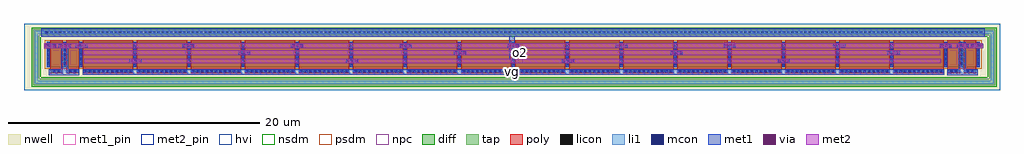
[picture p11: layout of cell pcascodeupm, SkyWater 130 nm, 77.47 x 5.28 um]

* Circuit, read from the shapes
.subckt pcascodeupm o1 o2 vdd vg
XM1 vdd vdd vdd vdd sky130_fd_pr__pfet_g5v0d10v5 w=2 l=1 m=4
XM2 o1 vg vdd vdd sky130_fd_pr__pfet_g5v0d10v5 w=2 l=4 m=8
XM3 o2 vg vdd vdd sky130_fd_pr__pfet_g5v0d10v5 w=2 l=4 m=8
.ends

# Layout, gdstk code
from math import pi, radians
import gdstk
lib = gdstk.Library(unit=1e-6, precision=1e-09)
def R(c, l, rs):  # rectangles x0, y0, x1, y1
    for r in rs: c.add(gdstk.rectangle(r[:2], r[2:], *l))
def A(c, l, x, y, w, h, nx, ny, dx, dy):  # array of equal rectangles
    R(c, l, [(x+i*dx, y+j*dy, x+i*dx+w, y+j*dy+h) for i in range(nx) for j in range(ny)])
nwell = (64, 20)
diff = (65, 20)
tap = (65, 44)
poly = (66, 20)
licon = (66, 44)
li1 = (67, 20)
mcon = (67, 44)
met1_pin = (68, 16)
met1 = (68, 20)
via = (68, 44)
met2_pin = (69, 16)
met2 = (69, 20)
hvi = (75, 20)
nsdm = (93, 44)
psdm = (94, 20)
npc = (95, 20)

sky130_fd_pr__pfet_g5v0d = lib.new_cell('sky130_fd_pr__pfet_g5v0d10v5_3TVYLM')
R(sky130_fd_pr__pfet_g5v0d, nwell, [(-1.615,-1.32,1.615,1.49)])
R(sky130_fd_pr__pfet_g5v0d, diff, [(-1.435,-0.82,1.435,1.18)])
R(sky130_fd_pr__pfet_g5v0d, poly, [(-1.145,-1.305,-0.145,1.31), (0.145,-1.305,1.145,1.31)])
A(sky130_fd_pr__pfet_g5v0d, licon, -1.375, -0.755, 0.17, 0.17, 3, 6, 1.29, 0.34)
R(sky130_fd_pr__pfet_g5v0d, licon, [(-0.9,-1.225,-0.73,-1.055), (-0.56,-1.225,-0.39,-1.055), (0.39,-1.225,0.56,-1.055), (0.73,-1.225,0.9,-1.055)])
A(sky130_fd_pr__pfet_g5v0d, li1, -1.375, -0.84, 0.17, 2.04, 3, 1, 1.29, 0)
R(sky130_fd_pr__pfet_g5v0d, li1, [(-1.145,-1.225,-0.145,-1.055), (0.145,-1.225,1.145,-1.055)])
A(sky130_fd_pr__pfet_g5v0d, mcon, -1.375, -0.625, 0.17, 0.17, 3, 5, 1.29, 0.36)
R(sky130_fd_pr__pfet_g5v0d, mcon, [(-0.91,-1.225,-0.74,-1.055), (-0.55,-1.225,-0.38,-1.055), (0.38,-1.225,0.55,-1.055), (0.74,-1.225,0.91,-1.055)])
A(sky130_fd_pr__pfet_g5v0d, met1, -1.405, -0.82, 0.23, 2, 3, 1, 1.29, 0)
R(sky130_fd_pr__pfet_g5v0d, met1, [(-1.125,-1.255,-0.165,-1.025), (0.165,-1.255,1.125,-1.025)])
R(sky130_fd_pr__pfet_g5v0d, hvi, [(-1.615,-1.32,1.615,-1.005), (-1.62,-1.005,1.62,1.365), (-1.615,1.365,1.615,1.49)])
R(sky130_fd_pr__pfet_g5v0d, psdm, [(-1.56,-0.945,1.56,1.305)])
R(sky130_fd_pr__pfet_g5v0d, npc, [(-1,-1.325,-0.29,-0.955), (0.29,-1.325,1,-0.955)])

viam1m2_1u = lib.new_cell('viam1m2_1u')
R(viam1m2_1u, met1, [(-0.02,-0.04,0.33,0.94)])
A(viam1m2_1u, via, 0.075, 0.06, 0.15, 0.15, 1, 3, 0, 0.32)
R(viam1m2_1u, met2, [(-0.02,-0.04,0.33,0.94)])

c_sky130_fd_pr__pfet_g5v0d = lib.new_cell('sky130_fd_pr__pfet_g5v0d10v5_252SW7')
R(c_sky130_fd_pr__pfet_g5v0d, nwell, [(-34.645,-1.32,34.645,1.49)])
R(c_sky130_fd_pr__pfet_g5v0d, diff, [(-34.465,-0.82,34.465,1.18)])
A(c_sky130_fd_pr__pfet_g5v0d, poly, -34.175, -1.305, 4, 2.615, 16, 1, 4.29, 0)
A(c_sky130_fd_pr__pfet_g5v0d, licon, -33.96, -1.225, 0.17, 0.17, 11, 1, 0.34, 0)
A(c_sky130_fd_pr__pfet_g5v0d, licon, -29.67, -1.225, 0.17, 0.17, 11, 1, 0.34, 0)
A(c_sky130_fd_pr__pfet_g5v0d, licon, -25.38, -1.225, 0.17, 0.17, 11, 1, 0.34, 0)
A(c_sky130_fd_pr__pfet_g5v0d, licon, -21.09, -1.225, 0.17, 0.17, 11, 1, 0.34, 0)
A(c_sky130_fd_pr__pfet_g5v0d, licon, -16.8, -1.225, 0.17, 0.17, 11, 1, 0.34, 0)
A(c_sky130_fd_pr__pfet_g5v0d, licon, -12.51, -1.225, 0.17, 0.17, 11, 1, 0.34, 0)
A(c_sky130_fd_pr__pfet_g5v0d, licon, -8.22, -1.225, 0.17, 0.17, 11, 1, 0.34, 0)
A(c_sky130_fd_pr__pfet_g5v0d, licon, -3.93, -1.225, 0.17, 0.17, 11, 1, 0.34, 0)
A(c_sky130_fd_pr__pfet_g5v0d, licon, 0.36, -1.225, 0.17, 0.17, 11, 1, 0.34, 0)
A(c_sky130_fd_pr__pfet_g5v0d, licon, 4.65, -1.225, 0.17, 0.17, 11, 1, 0.34, 0)
A(c_sky130_fd_pr__pfet_g5v0d, licon, 8.94, -1.225, 0.17, 0.17, 11, 1, 0.34, 0)
A(c_sky130_fd_pr__pfet_g5v0d, licon, 13.23, -1.225, 0.17, 0.17, 11, 1, 0.34, 0)
A(c_sky130_fd_pr__pfet_g5v0d, licon, 17.52, -1.225, 0.17, 0.17, 11, 1, 0.34, 0)
A(c_sky130_fd_pr__pfet_g5v0d, licon, 21.81, -1.225, 0.17, 0.17, 11, 1, 0.34, 0)
A(c_sky130_fd_pr__pfet_g5v0d, licon, 26.1, -1.225, 0.17, 0.17, 11, 1, 0.34, 0)
A(c_sky130_fd_pr__pfet_g5v0d, licon, 30.39, -1.225, 0.17, 0.17, 11, 1, 0.34, 0)
A(c_sky130_fd_pr__pfet_g5v0d, licon, -34.405, -0.755, 0.17, 0.17, 17, 6, 4.29, 0.34)
A(c_sky130_fd_pr__pfet_g5v0d, li1, -34.175, -1.225, 4, 0.17, 16, 1, 4.29, 0)
A(c_sky130_fd_pr__pfet_g5v0d, li1, -34.405, -0.84, 0.17, 2.04, 17, 1, 4.29, 0)
A(c_sky130_fd_pr__pfet_g5v0d, mcon, -34.06, -1.225, 0.17, 0.17, 11, 1, 0.36, 0)
A(c_sky130_fd_pr__pfet_g5v0d, mcon, -29.77, -1.225, 0.17, 0.17, 11, 1, 0.36, 0)
A(c_sky130_fd_pr__pfet_g5v0d, mcon, -25.48, -1.225, 0.17, 0.17, 11, 1, 0.36, 0)
A(c_sky130_fd_pr__pfet_g5v0d, mcon, -21.19, -1.225, 0.17, 0.17, 11, 1, 0.36, 0)
A(c_sky130_fd_pr__pfet_g5v0d, mcon, -16.9, -1.225, 0.17, 0.17, 11, 1, 0.36, 0)
A(c_sky130_fd_pr__pfet_g5v0d, mcon, -12.61, -1.225, 0.17, 0.17, 11, 1, 0.36, 0)
A(c_sky130_fd_pr__pfet_g5v0d, mcon, -8.32, -1.225, 0.17, 0.17, 11, 1, 0.36, 0)
A(c_sky130_fd_pr__pfet_g5v0d, mcon, -4.03, -1.225, 0.17, 0.17, 11, 1, 0.36, 0)
A(c_sky130_fd_pr__pfet_g5v0d, mcon, 0.26, -1.225, 0.17, 0.17, 11, 1, 0.36, 0)
A(c_sky130_fd_pr__pfet_g5v0d, mcon, 4.55, -1.225, 0.17, 0.17, 11, 1, 0.36, 0)
A(c_sky130_fd_pr__pfet_g5v0d, mcon, 8.84, -1.225, 0.17, 0.17, 11, 1, 0.36, 0)
A(c_sky130_fd_pr__pfet_g5v0d, mcon, 13.13, -1.225, 0.17, 0.17, 11, 1, 0.36, 0)
A(c_sky130_fd_pr__pfet_g5v0d, mcon, 17.42, -1.225, 0.17, 0.17, 11, 1, 0.36, 0)
A(c_sky130_fd_pr__pfet_g5v0d, mcon, 21.71, -1.225, 0.17, 0.17, 11, 1, 0.36, 0)
A(c_sky130_fd_pr__pfet_g5v0d, mcon, 26, -1.225, 0.17, 0.17, 11, 1, 0.36, 0)
A(c_sky130_fd_pr__pfet_g5v0d, mcon, 30.29, -1.225, 0.17, 0.17, 11, 1, 0.36, 0)
A(c_sky130_fd_pr__pfet_g5v0d, mcon, -34.405, -0.625, 0.17, 0.17, 17, 5, 4.29, 0.36)
A(c_sky130_fd_pr__pfet_g5v0d, met1, -34.155, -1.255, 3.96, 0.23, 16, 1, 4.29, 0)
A(c_sky130_fd_pr__pfet_g5v0d, met1, -34.435, -0.82, 0.23, 2, 17, 1, 4.29, 0)
R(c_sky130_fd_pr__pfet_g5v0d, hvi, [(-34.645,-1.32,34.645,-1.005), (-34.65,-1.005,34.65,1.365), (-34.645,1.365,34.645,1.49)])
R(c_sky130_fd_pr__pfet_g5v0d, psdm, [(-34.59,-0.945,34.59,1.305)])
A(c_sky130_fd_pr__pfet_g5v0d, npc, -34.06, -1.325, 3.77, 0.37, 16, 1, 4.29, 0)

pcascodeupm = lib.new_cell('pcascodeupm')
R(pcascodeupm, nwell, [(-4.19,-1.34,73.28,3.94)])
R(pcascodeupm, tap, [(-3.465,-0.925,72.915,-0.435), (-3.465,-0.435,-2.975,3.015), (72.425,-0.435,72.915,3.02), (-3.465,3.015,-1.775,3.02), (-3.465,3.02,72.915,3.505), (-2.5,3.505,72.915,3.51)])
A(pcascodeupm, licon, -2.435, 3.155, 0.17, 0.17, 219, 1, 0.34, 0)
R(pcascodeupm, li1, [(-3.34,-0.84,34.38,-0.83), (-3.34,-0.83,72.77,-0.6), (-3.34,-0.6,-3.1,3.13), (33.9,-0.6,72.77,-0.59), (72.53,-0.59,72.77,3.13), (-3.34,3.13,72.77,3.37)])
R(pcascodeupm, mcon, [(-2.505,3.165,-2.335,3.335)])
R(pcascodeupm, met1_pin, [(34.42,-0.06,34.8,0.28)])
R(pcascodeupm, met1, [(69.11,-0.15,71.5,0.31), (-2.21,-0.14,0.18,0.32), (0.47,-0.09,68.84,0.32), (70.01,0.31,70.55,2.47), (-1.22,0.32,-0.68,2.36), (34.34,1.095,34.75,2.89), (-2.84,2.89,72.06,3.57), (-2.83,3.57,-2.42,3.6)])
R(pcascodeupm, met2_pin, [(35.02,0.81,35.4,1.15), (35.05,1.46,35.43,1.8), (35.03,2.02,35.41,2.36)])
R(pcascodeupm, met2, [(0.59,0.8,68.595,1.17), (0.53,1.45,68.535,1.82), (-2.59,2,71.86,2.38)])
R(pcascodeupm, hvi, [(-4.19,-1.34,73.28,3.94)])
R(pcascodeupm, nsdm, [(-3.59,-1.05,73.04,-0.31), (-3.59,-0.31,-2.85,2.89), (72.3,-0.31,73.04,2.895), (-3.59,2.89,-1.65,2.895), (-3.59,2.895,73.04,3.63), (-2.625,3.63,73.04,3.635)])
pcascodeupm.add(gdstk.Reference(sky130_fd_pr__pfet_g5v0d, (-0.965,1.32)))
pcascodeupm.add(gdstk.Reference(viam1m2_1u, (-2.56,2.34), rotation=3*pi/2))
pcascodeupm.add(gdstk.Reference(viam1m2_1u, (-1.42,2.34), rotation=3*pi/2))
pcascodeupm.add(gdstk.Reference(viam1m2_1u, (-0.08,2.36), rotation=3*pi/2))
pcascodeupm.add(gdstk.Reference(viam1m2_1u, (4.22,1.13), rotation=3*pi/2))
pcascodeupm.add(gdstk.Reference(viam1m2_1u, (8.4,2.35), rotation=3*pi/2))
pcascodeupm.add(gdstk.Reference(viam1m2_1u, (12.84,1.81), rotation=3*pi/2))
pcascodeupm.add(gdstk.Reference(viam1m2_1u, (17.04,2.35), rotation=3*pi/2))
pcascodeupm.add(gdstk.Reference(viam1m2_1u, (21.41,1.13), rotation=3*pi/2))
pcascodeupm.add(gdstk.Reference(viam1m2_1u, (25.66,2.34), rotation=3*pi/2))
pcascodeupm.add(gdstk.Reference(viam1m2_1u, (29.98,1.78), rotation=3*pi/2))
pcascodeupm.add(gdstk.Reference(viam1m2_1u, (34.2,2.34), rotation=3*pi/2))
pcascodeupm.add(gdstk.Reference(viam1m2_1u, (38.55,1.16), rotation=3*pi/2))
pcascodeupm.add(gdstk.Reference(viam1m2_1u, (42.79,2.36), rotation=3*pi/2))
pcascodeupm.add(gdstk.Reference(viam1m2_1u, (47.15,1.79), rotation=3*pi/2))
pcascodeupm.add(gdstk.Reference(viam1m2_1u, (51.38,2.4), rotation=3*pi/2))
pcascodeupm.add(gdstk.Reference(viam1m2_1u, (55.67,1.16), rotation=3*pi/2))
pcascodeupm.add(gdstk.Reference(viam1m2_1u, (60.99,2.36), rotation=3*pi/2, x_reflection=True))
pcascodeupm.add(gdstk.Reference(viam1m2_1u, (64.37,1.79), rotation=3*pi/2))
pcascodeupm.add(gdstk.Reference(sky130_fd_pr__pfet_g5v0d, (70.255,1.32)))
pcascodeupm.add(gdstk.Reference(viam1m2_1u, (69.87,2.34), rotation=3*pi/2))
pcascodeupm.add(gdstk.Reference(viam1m2_1u, (68.52,2.35), rotation=3*pi/2))
pcascodeupm.add(gdstk.Reference(viam1m2_1u, (71.9,2.34), rotation=3*pi/2, x_reflection=True))
pcascodeupm.add(gdstk.Reference(c_sky130_fd_pr__pfet_g5v0d, (34.645,1.32)))
pcascodeupm.add(gdstk.Label('vg', (34.61,0.11), layer=68, texttype=5))
pcascodeupm.add(gdstk.Label('o1', (35.21,0.98), layer=69, texttype=5))
pcascodeupm.add(gdstk.Label('o2', (35.24,1.63), layer=69, texttype=5))
pcascodeupm.add(gdstk.Label('vdd', (35.22,2.19), layer=69, texttype=5))

lib.write_gds('pcascodeupm.gds')
